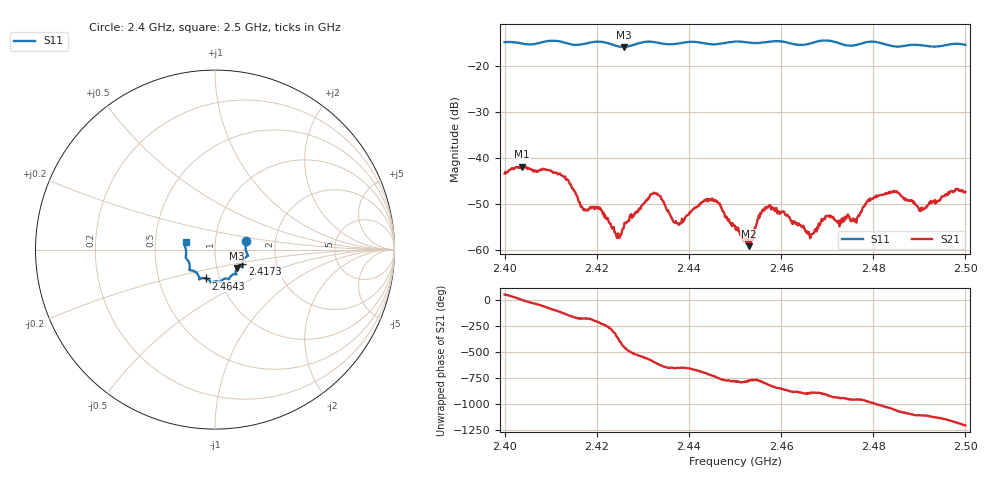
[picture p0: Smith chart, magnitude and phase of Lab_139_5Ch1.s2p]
# Hz S RI R 50
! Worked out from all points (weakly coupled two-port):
!   601 points, 2.4 GHz to 2.5 GHz, reference 50 ohm
!   highest |S21| = -41.88 dB at 2.4038 GHz (marker M1); lowest = -59.1 dB at 2.453 GHz (marker M2)
!   lowest |S11| = -15.9 dB at 2.4258 GHz (marker M3), VSWR 1.38, Z = 62.3 - j13.3 ohm
!   |S11| at or under -10 dB: start of sweep to end of sweep
!   S12 and S22 are empty: the file has one direction only
!   S11 on the Smith chart (normalised r, x): 2.4 GHz: 1.41, +0.14; 2.4173 GHz: 1.34, -0.23; 2.4643 GHz: 0.86, -0.28; 2.5 GHz: 0.72, +0.06
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2.4e9  0.1732 0.0493  0.00446 0.00512  0 0  0 0
2.403833e9  0.172 0.0267  0.00804 -0.000513  0 0  0 0
2.412667e9  0.176 -0.0393  -0.004 -0.00494  0 0  0 0
2.416667e9  0.1529 -0.0748  -0.00301 3.69e-05  0 0  0 0
2.417333e9  0.1521 -0.0822  -0.00279 1.5e-06  0 0  0 0
2.420667e9  0.1543 -0.0967  -0.00215 0.00194  0 0  0 0
2.424667e9  0.1307 -0.0962  0.00146 -0.000439  0 0  0 0
2.425833e9  0.1218 -0.1036  3.07e-05 -0.00173  0 0  0 0
2.433333e9  0.1126 -0.1369  -0.000891 0.00387  0 0  0 0
2.437333e9  0.0855 -0.1505  0.000746 0.00182  0 0  0 0
2.444667e9  0.0581 -0.1611  0.00353 -2.5e-05  0 0  0 0
2.45e9  0.0294 -0.1807  0.00085 -0.00164  0 0  0 0
2.453e9  0.0173 -0.1775  0.000594 -0.000933  0 0  0 0
2.457167e9  -0.0146 -0.1811  -0.000229 -0.0029  0 0  0 0
2.464333e9  -0.0499 -0.1607  -0.00184 -0.000261  0 0  0 0
2.466667e9  -0.076 -0.1596  -0.00149 -0.000179  0 0  0 0
2.469833e9  -0.0878 -0.1664  -0.00232 0.000377  0 0  0 0
2.476e9  -0.1162 -0.1197  -0.0012 0.00181  0 0  0 0
2.478833e9  -0.1398 -0.1153  -0.000836 0.00334  0 0  0 0
2.483333e9  -0.1405 -0.0899  0.00293 0.00309  0 0  0 0
2.4905e9  -0.1622 -0.0379  0.00258 -0.00136  0 0  0 0
2.5e9  -0.1635 0.0417  -0.00242 -0.00355  0 0  0 0
